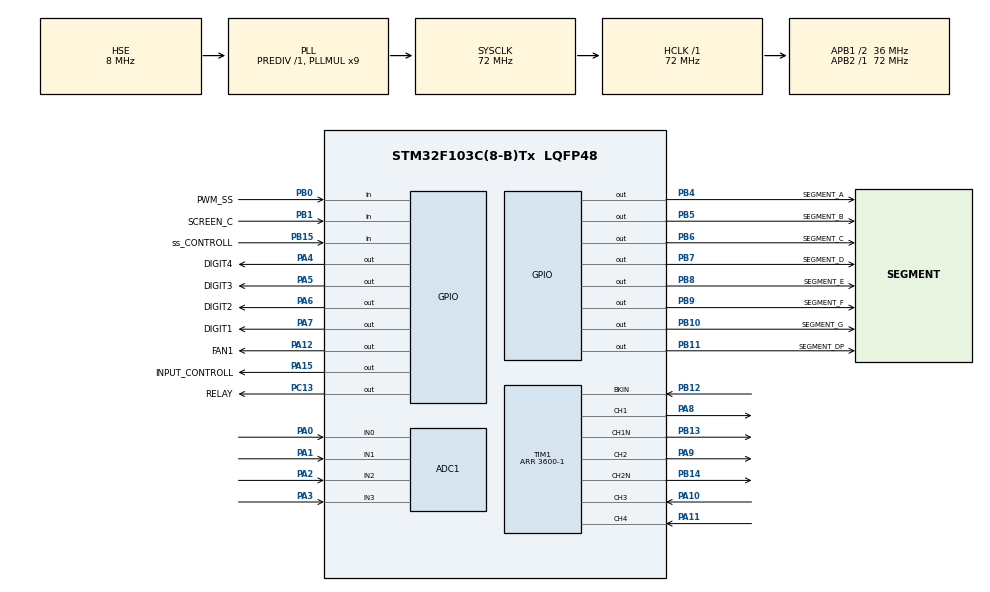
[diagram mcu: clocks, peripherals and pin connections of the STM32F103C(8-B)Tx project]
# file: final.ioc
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ADC1.AWD1HighThreshold=4095
ADC1.AWD1ITMode=ENABLE
ADC1.Channel-0\#ChannelRegularConversion=ADC_CHANNEL_1
ADC1.Channel-1\#ChannelRegularConversion=ADC_CHANNEL_2
ADC1.Channel-2\#ChannelRegularConversion=ADC_CHANNEL_3
ADC1.Channel-4\#ChannelInjectedConversion=ADC_CHANNEL_0
ADC1.ContinuousConvMode=ENABLE
ADC1.EnableAnalogWatchDog=true
ADC1.EnableInjectedConversion=ENABLE
ADC1.ExternalTrigConv=ADC_SOFTWARE_START
ADC1.ExternalTrigInjecConv=ADC_EXTERNALTRIGINJECCONV_T1_TRGO
ADC1.InjNumberOfConversion=1
ADC1.InjectedConvMode=Discontinuous
ADC1.InjectedOffset-4\#ChannelInjectedConversion=0
ADC1.InjectedRank-4\#ChannelInjectedConversion=1
ADC1.NbrOfConversion=3
ADC1.NbrOfConversionFlag=1
ADC1.Rank-0\#ChannelRegularConversion=1
ADC1.Rank-1\#ChannelRegularConversion=2
ADC1.Rank-2\#ChannelRegularConversion=3
ADC1.SamplingTime-0\#ChannelRegularConversion=ADC_SAMPLETIME_55CYCLES_5
ADC1.SamplingTime-1\#ChannelRegularConversion=ADC_SAMPLETIME_55CYCLES_5
ADC1.SamplingTime-2\#ChannelRegularConversion=ADC_SAMPLETIME_55CYCLES_5
ADC1.SamplingTime-4\#ChannelInjectedConversion=ADC_SAMPLETIME_13CYCLES_5
ADC1.WatchdogChannel=ADC_CHANNEL_0
ADC1.WatchdogMode=ADC_ANALOGWATCHDOG_SINGLE_INJEC
ADC1.master=1
Dma.ADC1.0.Direction=DMA_PERIPH_TO_MEMORY
Dma.ADC1.0.Instance=DMA1_Channel1
Dma.ADC1.0.MemDataAlignment=DMA_MDATAALIGN_HALFWORD
Dma.ADC1.0.MemInc=DMA_MINC_ENABLE
Dma.ADC1.0.Mode=DMA_CIRCULAR
Dma.ADC1.0.PeriphDataAlignment=DMA_PDATAALIGN_HALFWORD
Dma.ADC1.0.PeriphInc=DMA_PINC_DISABLE
Dma.ADC1.0.Priority=DMA_PRIORITY_MEDIUM
Dma.Request0=ADC1
IWDG.Prescaler=IWDG_PRESCALER_64
IWDG.Reload=626-1
Mcu.Family=STM32F1
Mcu.Name=STM32F103C(8-B)Tx
Mcu.Package=LQFP48
NVIC.ADC1_2_IRQn=true\:0\:0\:false\:false\:true\:true\:true\:true
NVIC.DMA1_Channel1_IRQn=true\:0\:0\:false\:false\:true\:false\:true\:true
NVIC.PriorityGroup=NVIC_PRIORITYGROUP_4
NVIC.TIM1_BRK_IRQn=true\:0\:0\:false\:false\:true\:true\:true\:true
NVIC.TIM1_CC_IRQn=true\:0\:0\:false\:false\:true\:true\:true\:true
NVIC.TIM2_IRQn=true\:0\:0\:false\:false\:true\:true\:true\:true
PA0-WKUP.Signal=ADCx_IN0
PA1.Signal=ADCx_IN1
PA10.Signal=S_TIM1_CH3
PA11.Signal=S_TIM1_CH4
PA12.GPIO_Label=FAN1
PA12.GPIO_PuPd=GPIO_PULLDOWN
PA12.Signal=GPIO_Output
PA13.Mode=Trace_Asynchronous_SW
PA13.Signal=SYS_JTMS-SWDIO
PA14.Mode=Trace_Asynchronous_SW
PA14.Signal=SYS_JTCK-SWCLK
PA15.GPIO_Label=INPUT_CONTROLL
PA15.GPIO_PuPd=GPIO_PULLDOWN
PA15.Signal=GPIO_Output
PA2.Signal=ADCx_IN2
PA3.Signal=ADCx_IN3
PA4.GPIO_Label=DIGIT4
PA4.GPIO_PuPd=GPIO_PULLDOWN
PA4.Signal=GPIO_Output
PA5.GPIO_Label=DIGIT3
PA5.GPIO_PuPd=GPIO_PULLDOWN
PA5.Signal=GPIO_Output
PA6.GPIO_Label=DIGIT2
PA6.GPIO_PuPd=GPIO_PULLDOWN
PA6.Signal=GPIO_Output
PA7.GPIO_Label=DIGIT1
PA7.GPIO_PuPd=GPIO_PULLDOWN
PA7.Signal=GPIO_Output
PA8.Signal=S_TIM1_CH1
PA9.Signal=S_TIM1_CH2
PB0.GPIO_Label=PWM_SS
PB0.GPIO_PuPd=GPIO_NOPULL
PB0.Signal=GPIO_Input
PB1.GPIO_Label=SCREEN_C
PB1.Signal=GPIO_Input
PB10.GPIO_Label=SEGMENT_G
PB10.GPIO_PuPd=GPIO_PULLDOWN
PB10.Signal=GPIO_Output
PB11.GPIO_Label=SEGMENT_DP
PB11.GPIO_PuPd=GPIO_PULLDOWN
PB11.Signal=GPIO_Output
PB12.Mode=Activate-Break-Input
PB12.Signal=TIM1_BKIN
PB13.Mode=PWM Generation1 CH1 CH1N
PB13.Signal=TIM1_CH1N
PB14.Mode=PWM Generation2 CH2 CH2N
PB14.Signal=TIM1_CH2N
PB15.GPIO_Label=ss_CONTROLL
PB15.Signal=GPIO_Input
PB3.Mode=Trace_Asynchronous_SW
PB3.Signal=SYS_JTDO-TRACESWO
PB4.GPIO_Label=SEGMENT_A
PB4.GPIO_PuPd=GPIO_PULLDOWN
PB4.Signal=GPIO_Output
PB5.GPIO_Label=SEGMENT_B
PB5.GPIO_PuPd=GPIO_PULLDOWN
PB5.Signal=GPIO_Output
PB6.GPIO_Label=SEGMENT_C
PB6.GPIO_PuPd=GPIO_PULLDOWN
PB6.Signal=GPIO_Output
PB7.GPIO_Label=SEGMENT_D
PB7.GPIO_PuPd=GPIO_PULLDOWN
PB7.Signal=GPIO_Output
PB8.GPIO_Label=SEGMENT_E
PB8.GPIO_PuPd=GPIO_PULLDOWN
PB8.Signal=GPIO_Output
PB9.GPIO_Label=SEGMENT_F
PB9.GPIO_PuPd=GPIO_PULLDOWN
PB9.Signal=GPIO_Output
PC13-TAMPER-RTC.GPIO_Label=RELAY
PC13-TAMPER-RTC.GPIO_PuPd=GPIO_PULLDOWN
PC13-TAMPER-RTC.Signal=GPIO_Output
PD0-OSC_IN.Mode=HSE-External-Oscillator
PD0-OSC_IN.Signal=RCC_OSC_IN
PD1-OSC_OUT.Mode=HSE-External-Oscillator
PD1-OSC_OUT.Signal=RCC_OSC_OUT
ProjectManager.HeapSize=0x200
ProjectManager.StackSize=0x400
ProjectManager.TargetToolchain=MDK-ARM V5.32
RCC.ADCPresc=RCC_ADCPCLK2_DIV6
RCC.AHBFreq_Value=72000000
RCC.APB1CLKDivider=RCC_HCLK_DIV2
RCC.APB1Freq_Value=36000000
RCC.APB1TimFreq_Value=72000000
RCC.APB2Freq_Value=72000000
RCC.APB2TimFreq_Value=72000000
RCC.HCLKFreq_Value=72000000
RCC.PLLMUL=RCC_PLL_MUL9
RCC.PLLSourceVirtual=RCC_PLLSOURCE_HSE
RCC.RTCClockSelection=RCC_RTCCLKSOURCE_LSE
RCC.SYSCLKFreq_VALUE=72000000
RCC.SYSCLKSource=RCC_SYSCLKSOURCE_PLLCLK
RCC.USBFreq_Value=72000000
SH.ADCx_IN0.0=ADC1_IN0,IN0
SH.ADCx_IN1.0=ADC1_IN1,IN1
SH.ADCx_IN2.0=ADC1_IN2,IN2
SH.ADCx_IN3.0=ADC1_IN3,IN3
SH.S_TIM1_CH1.0=TIM1_CH1,PWM Generation1 CH1 CH1N
SH.S_TIM1_CH2.0=TIM1_CH2,PWM Generation2 CH2 CH2N
SH.S_TIM1_CH3.0=TIM1_CH3,Input_Capture3_from_TI3
SH.S_TIM1_CH4.0=TIM1_CH4,Input_Capture4_from_TI4
TIM1.AutoReloadPreload=TIM_AUTORELOAD_PRELOAD_ENABLE
TIM1.AutomaticOutput=TIM_AUTOMATICOUTPUT_ENABLE
TIM1.BreakPolarity=TIM_BREAKPOLARITY_HIGH
TIM1.BreakState=TIM_BREAK_ENABLE
TIM1.Channel-Input_Capture3_from_TI3=TIM_CHANNEL_3
TIM1.Channel-Input_Capture4_from_TI4=TIM_CHANNEL_4
TIM1.Channel-PWM\ Generation1\ CH1\ CH1N=TIM_CHANNEL_1
TIM1.Channel-PWM\ Generation2\ CH2\ CH2N=TIM_CHANNEL_2
TIM1.CounterMode=TIM_COUNTERMODE_CENTERALIGNED2
TIM1.DeadTime=255
TIM1.OffStateIDLEMode=TIM_OSSI_ENABLE
TIM1.OffStateRunMode=TIM_OSSR_ENABLE
TIM1.Period=3600-1
TIM1.Pulse-PWM\ Generation1\ CH1\ CH1N=1800
TIM1.Pulse-PWM\ Generation2\ CH2\ CH2N=1800
TIM1.TIM_MasterOutputTrigger=TIM_TRGO_OC1REF
TIM1.TIM_MasterSlaveMode=TIM_MASTERSLAVEMODE_ENABLE
TIM2.AutoReloadPreload=TIM_AUTORELOAD_PRELOAD_ENABLE
TIM2.Period=1000-1
TIM2.Prescaler=72-1
VP_IWDG_VS_IWDG.Mode=IWDG_Activate
VP_TIM1_VS_ClockSourceINT.Mode=Internal
VP_TIM2_VS_ClockSourceINT.Mode=Internal
board=custom

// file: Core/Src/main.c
/* USER CODE BEGIN Header */
/**
  ******************************************************************************
  * @file           : main.c
  * @brief          : Main program body
  ******************************************************************************
  * @attention
  *
  * Copyright (c) 2025 STMicroelectronics.
  * All rights reserved.
  *
  * This software is licensed under terms that can be found in the LICENSE file
  * in the root directory of this software component.
  * If no LICENSE file comes with this software, it is provided AS-IS.
  *
  ******************************************************************************
  */
/* USER CODE END Header */
#include "main.h"
#include "adc.h"
#include "dma.h"
#include "iwdg.h"
#include "tim.h"
#include "gpio.h"

/* USER CODE BEGIN Includes */
#include <string.h>
#include <stdio.h>
#include "app_ctx.h"
#include "sevenseg.h"
#include "value_to_string.h"
#include "fsm_resonance_sweep.h"
#include <math.h>
/* USER CODE END Includes */

/* USER CODE BEGIN PD */

//----------------------------pwm defines ended----------------------------------
#define KEY_READ_PERIOD							50
#define SEVEN_SEGMENT_UPDATE_PERIOD	4
#define SOFT_START_READ_PERIOD			2
/* USER CODE END PD */

/* USER CODE BEGIN PV */
SevenSeg_HandleTypeDef h7seg;
char buffer[6] = "     ";
PWM_Event_t evt;
const State_Machine_Func stateFunc[PwmStateEND] = {
	[PwmStateStandby]        	=	stateStandby ,
	[PwmStateInit]           	=	stateInit ,
	[PwmStateSoftStart]      	=	stateSoftStart ,
	[PwmStateResonanceSweep]	= stateResonanceSweep ,
	[PwmStateRunning]        	= stateRunning ,
	[PwmStateRecovery]        = stateRecovery ,
	[PwmStateSoftStop]       	= stateSoftStop ,
	[PwmStateHardStop]				= stateHardStop
};
static Counter keyCounter =0;
static Counter sevenSegCounter =0;

/* USER CODE END PV */

void SystemClock_Config(void);
/* USER CODE BEGIN PFP */
//-----------------------------pwm function prototype start--------------------------
void PWM_Command_Key_init(volatile KeyPinConfig* key);
int _write(int file, char *ptr, int len);
/* USER CODE END PFP */

int main(void)
{
	AppContext app = {0};
	/* MCU Configuration--------------------------------------------------------*/
	/* Reset of all peripherals, Initializes the Flash interface and the Systick. */
  HAL_Init();
	/* Configure the system clock */
  SystemClock_Config();
	/* USER CODE BEGIN SysInit */
	HAL_Delay(10);
  /* USER CODE END SysInit */

  /* Initialize all configured peripherals */
  MX_GPIO_Init();
  MX_DMA_Init();
  MX_ADC1_Init();
  MX_TIM1_Init();
  MX_TIM2_Init();
  MX_IWDG_Init();
  /* USER CODE BEGIN 2 */
	/*app.counterTimer = &htim2;
	FSM_Tick_Attach(&app);
	ADC_AttachContext(&app.adc);
	IC_AttachContext(&app.ic);
	PWM_AttachContext(&app.pwm);
	DI_AttachContext(&app.d_input);

	ResetFlag_t rf = Read_Reset_Cause_F1();
	PWM_FSM_Init(&app);                         // ماشین حالت PWM را در حالت STANDBY قرار می‌دهد
	SevenSeg_Init(&h7seg);                  // راه‌اندازی ۷‑سگمنت، نور کم
	PWM_Command_Key_init(&app.keys[PWM_COMMMAND_KEY]); // کلید فرمان Start با دیبانس داخلی
	IWDG_Start_F1(1000, 40000);*/
	//Mechnical_Part_Init(mechParts,MECHANICAL_PARTS_END);
	//PWM_FSM_Init();
	//PWM_Command_Key_init(&keys[PWM_COMMMAND_KEY]);
	//	Mechnical_Part_Handler(&mechParts[MECHANICAL_PART_Relay],POWER_MODE_ON); اين براي سافت استارت خود باي ديسي يادم باشه درستش کنم
  /* USER CODE END 2 */

  /* Infinite loop */
  /* USER CODE BEGIN WHILE */
	memset(&app, 0, sizeof app);
	IC_AttachContext(&app.ic);
  IC_Init(&app.ic);
	HAL_TIM_IC_Start_IT(&htim1, TIM_CHANNEL_3);
	HAL_TIM_IC_Start_IT(&htim1, TIM_CHANNEL_4);
	//SevenSeg_Init(&h7seg);
	if(Calibrate_PhaseOffset(&app,200) == true){
			int32_t mdeg = (int32_t)lroundf(app.pwm.phase_offset_vc_deg * 1000.0f);
        printf("Calib : offset = %d deg\r\n",mdeg);
    } else {
        printf("Calibration failed (timeout?)\r\n");
    }
	while (1)
  {
		/*
		systemSaftyCheker(&app);
		if(app.flags.hardFault){
			app.flags.hardFault = 0;
			PWM_FSM_HandleEvent(&app,Evt_HardwareFault);
		}
		else{
			while(DequeueEvent(&app,&evt)){
				PWM_FSM_HandleEvent(&app,evt);
			}
		}
		if(app.flags.tick){
			app.flags.tick = 0;
			stateFunc[app.pwm.currentState](&app);
		}
		if(app.flags.segUpdate){
			app.flags.segUpdate = 0;
			sevenSegmentModeHandler[segmentMode](buffer,&app.pwm);
			SevenSeg_BufferUpdate(&h7seg,buffer);
			SevenSeg_Update(&h7seg);
		}
		if(app.flags.keyRead){
			app.flags.keyRead = 0;
			keyAct[app.pwm.currentState](&app);
		}*/

    /* USER CODE END WHILE */

  }
}

void SystemClock_Config(void)
{
  RCC_OscInitTypeDef RCC_OscInitStruct = {0};
  RCC_ClkInitTypeDef RCC_ClkInitStruct = {0};
  RCC_PeriphCLKInitTypeDef PeriphClkInit = {0};

  /** Initializes the RCC Oscillators according to the specified parameters
  * in the RCC_OscInitTypeDef structure.
  */
  RCC_OscInitStruct.OscillatorType = RCC_OSCILLATORTYPE_LSI|RCC_OSCILLATORTYPE_HSE;
  RCC_OscInitStruct.HSEState = RCC_HSE_ON;
  RCC_OscInitStruct.HSEPredivValue = RCC_HSE_PREDIV_DIV1;
  RCC_OscInitStruct.HSIState = RCC_HSI_ON;
  RCC_OscInitStruct.LSIState = RCC_LSI_ON;
  RCC_OscInitStruct.PLL.PLLState = RCC_PLL_ON;
  RCC_OscInitStruct.PLL.PLLSource = RCC_PLLSOURCE_HSE;
  RCC_OscInitStruct.PLL.PLLMUL = RCC_PLL_MUL9;
  if (HAL_RCC_OscConfig(&RCC_OscInitStruct) != HAL_OK)
  {
    Error_Handler();
  }

  /** Initializes the CPU, AHB and APB buses clocks
  */
  RCC_ClkInitStruct.ClockType = RCC_CLOCKTYPE_HCLK|RCC_CLOCKTYPE_SYSCLK
                              |RCC_CLOCKTYPE_PCLK1|RCC_CLOCKTYPE_PCLK2;
  RCC_ClkInitStruct.SYSCLKSource = RCC_SYSCLKSOURCE_PLLCLK;
  RCC_ClkInitStruct.AHBCLKDivider = RCC_SYSCLK_DIV1;
  RCC_ClkInitStruct.APB1CLKDivider = RCC_HCLK_DIV2;
  RCC_ClkInitStruct.APB2CLKDivider = RCC_HCLK_DIV1;

  if (HAL_RCC_ClockConfig(&RCC_ClkInitStruct, FLASH_LATENCY_2) != HAL_OK)
  {
    Error_Handler();
  }
  PeriphClkInit.PeriphClockSelection = RCC_PERIPHCLK_ADC;
  PeriphClkInit.AdcClockSelection = RCC_ADCPCLK2_DIV6;
  if (HAL_RCCEx_PeriphCLKConfig(&PeriphClkInit) != HAL_OK)
  {
    Error_Handler();
  }
}

/* USER CODE BEGIN 4 */

//---------------------key functions start-----------------------------------------

//void pwmStartStopKeyCallback(PWM_State_t* pwm ){
//
//}
//void screenChangeKeyCallback(void* P){
//
//}
//---------------------key functions start-----------------------------------------
void PWM_Command_Key_init(volatile KeyPinConfig* key){
	key->GPIOPort = PWM_SS_GPIO_Port;
	key->GPIOPin = PWM_SS_Pin;
	key->state = KeyStateOnNone;
}

//timers NVIC callback-----------------------------------------
void HAL_TIM_PeriodElapsedCallback(TIM_HandleTypeDef* htim){ //1 us timer
	if(htim->Instance == TIM2){
		FSM_Tick_OnPeriodElapsed(htim);
	}
}
//timers NVIC callback
void systemSaftyCheker(AppContext* app){

}
//------------------------------------
int _write(int file, char *ptr, int len){
    for(int i=0;i<len;i++){
        ITM_SendChar((uint32_t)*ptr++);
    }
    return len;
}
/* USER CODE END 4 */

void Error_Handler(void)
{
  __disable_irq();
  while (1)
  {
  }
}
